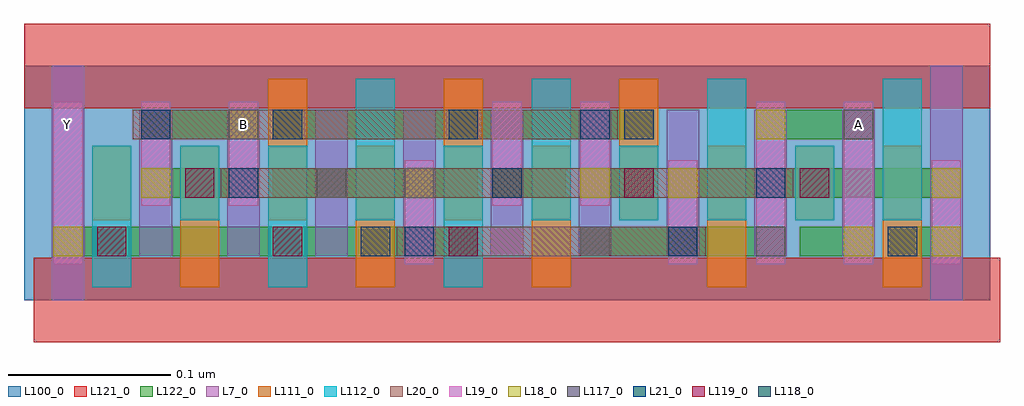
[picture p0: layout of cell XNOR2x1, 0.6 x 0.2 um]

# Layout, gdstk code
import gdstk
lib = gdstk.Library(unit=1e-6, precision=2.5e-10)
def R(c, l, rs):  # rectangles x0, y0, x1, y1
    for r in rs: c.add(gdstk.rectangle(r[:2], r[2:], *l))
def A(c, l, x, y, w, h, nx, ny, dx, dy):  # array of equal rectangles
    R(c, l, [(x+i*dx, y+j*dy, x+i*dx+w, y+j*dy+h) for i in range(nx) for j in range(ny)])
L7_0 = (7, 0)
L18_0 = (18, 0)
L19_0 = (19, 0)
L20_0 = (20, 0)
L21_0 = (21, 0)
L100_0 = (100, 0)
L111_0 = (111, 0)
L112_0 = (112, 0)
L117_0 = (117, 0)
L118_0 = (118, 0)
L119_0 = (119, 0)
L121_0 = (121, 0)
L122_0 = (122, 0)

xnor2x1 = lib.new_cell('XNOR2x1')
A(xnor2x1, L7_0, 0.071, 0.027, 0.02, 0.09, 9, 1, 0.054, 0)
R(xnor2x1, L7_0, [(0.017,0,0.037,0.144), (0.557,0,0.577,0.144)])
A(xnor2x1, L18_0, 0.234, 0.063, 0.018, 0.018, 4, 1, 0.054, 0)
R(xnor2x1, L18_0, [(0.018,0.027,0.036,0.045), (0.504,0.027,0.522,0.045), (0.558,0.027,0.576,0.045), (0.072,0.063,0.09,0.081), (0.558,0.063,0.576,0.081), (0.126,0.099,0.144,0.117), (0.45,0.099,0.468,0.117)])
A(xnor2x1, L19_0, 0.234, 0.022, 0.018, 0.064, 3, 1, 0.162, 0)
R(xnor2x1, L19_0, [(0.018,0.022,0.036,0.122), (0.45,0.022,0.468,0.122), (0.504,0.022,0.522,0.122), (0.072,0.058,0.09,0.122), (0.126,0.058,0.144,0.122), (0.288,0.058,0.306,0.122), (0.342,0.058,0.36,0.122)])
R(xnor2x1, L20_0, [(0.229,0.027,0.419,0.045), (0.121,0.063,0.473,0.081), (0.067,0.099,0.365,0.117)])
A(xnor2x1, L21_0, 0.126, 0.063, 0.018, 0.018, 3, 1, 0.162, 0)
R(xnor2x1, L21_0, [(0.234,0.027,0.252,0.045), (0.396,0.027,0.414,0.045), (0.072,0.099,0.09,0.117), (0.342,0.099,0.36,0.117)])
R(xnor2x1, L100_0, [(0,0,0.594,0.144)])
A(xnor2x1, L111_0, 0.096, 0.008, 0.024, 0.087, 5, 1, 0.108, 0)
A(xnor2x1, L111_0, 0.15, 0.049, 0.024, 0.087, 3, 1, 0.108, 0)
R(xnor2x1, L111_0, [(0.042,0.049,0.066,0.095), (0.474,0.049,0.498,0.095)])
A(xnor2x1, L112_0, 0.042, 0.008, 0.024, 0.087, 3, 1, 0.108, 0)
A(xnor2x1, L112_0, 0.204, 0.049, 0.024, 0.087, 4, 1, 0.108, 0)
R(xnor2x1, L112_0, [(0.096,0.049,0.12,0.095), (0.366,0.049,0.39,0.095), (0.474,0.049,0.498,0.095)])
A(xnor2x1, L117_0, 0.342, 0.027, 0.018, 0.018, 3, 1, 0.054, 0)
A(xnor2x1, L117_0, 0.18, 0.063, 0.018, 0.018, 3, 1, 0.054, 0)
R(xnor2x1, L117_0, [(0.072,0.099,0.09,0.117), (0.126,0.099,0.144,0.117), (0.504,0.099,0.522,0.117)])
A(xnor2x1, L118_0, 0.153, 0.099, 0.018, 0.018, 3, 1, 0.108, 0)
R(xnor2x1, L118_0, [(0.207,0.027,0.225,0.045), (0.531,0.027,0.549,0.045)])
A(xnor2x1, L119_0, 0.045, 0.027, 0.018, 0.018, 3, 1, 0.108, 0)
R(xnor2x1, L119_0, [(0.099,0.063,0.117,0.081), (0.369,0.063,0.387,0.081), (0.477,0.063,0.495,0.081)])
R(xnor2x1, L121_0, [(0.006,-0.026,0.6,0.026), (0,0.118,0.594,0.17)])
R(xnor2x1, L122_0, [(0.018,0.027,0.279,0.045), (0.342,0.027,0.468,0.045), (0.477,0.027,0.522,0.045), (0.531,0.027,0.576,0.045), (0.072,0.063,0.144,0.081), (0.153,0.063,0.279,0.081), (0.288,0.063,0.333,0.081), (0.342,0.063,0.387,0.081), (0.396,0.063,0.576,0.081), (0.072,0.099,0.144,0.117), (0.153,0.099,0.387,0.117), (0.45,0.099,0.522,0.117)])
xnor2x1.add(gdstk.Label('Y', (0.027,0.108), layer=19, texttype=251))
xnor2x1.add(gdstk.Label('B', (0.135,0.108), layer=19, texttype=251))
xnor2x1.add(gdstk.Label('A', (0.513,0.108), layer=19, texttype=251))

lib.write_gds('XNOR2x1.gds')
